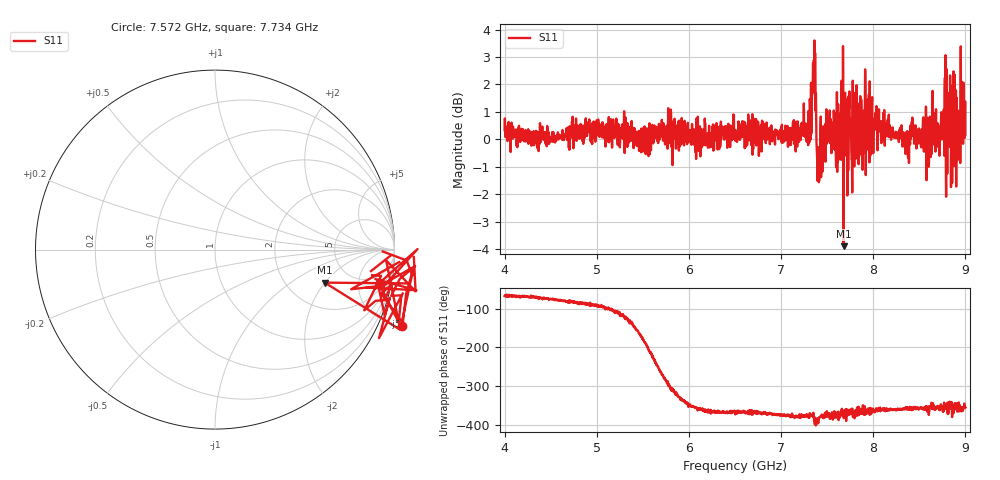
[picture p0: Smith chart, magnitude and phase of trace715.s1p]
! Created with skrf 1.8.0 (http://scikit-rf.org).
# Hz S RI R 50.0
!freq ReS11 ImS11
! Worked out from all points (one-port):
!   1601 points, 4 GHz to 9 GHz, reference 50 ohm
!   lowest |S11| = -3.9 dB at 7.678 GHz (marker M1), VSWR 4.54, Z = 160 - j99.8 ohm
!   |S11| at or under -10 dB: nowhere
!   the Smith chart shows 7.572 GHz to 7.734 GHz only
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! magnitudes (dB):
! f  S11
! 4 GHz  0.3
! 4.625 GHz  0.0
! 5.25 GHz  -0.3
! 5.875 GHz  -0.2
! 6.5 GHz  0.3
! 7.125 GHz  0.3
! 7.284 GHz  0.3
! 7.35 GHz  2.4
! 7.366 GHz  2.6
! 7.4 GHz  -0.8
! 7.412 GHz  -1.5
! 7.512 GHz  0.4
! 7.609 GHz  -1.2
! 7.647 GHz  0.4
! 7.678 GHz  -3.9
! 7.703 GHz  -0.6
! 7.75 GHz  0.6
! 7.788 GHz  0.2
! 7.928 GHz  1.2
! 8.375 GHz  -0.5
! 8.434 GHz  0.2
! 8.603 GHz  -1.0
! 8.656 GHz  0.9
! 8.709 GHz  0.5
! 8.809 GHz  0.5
! 8.919 GHz  -0.1
! 8.972 GHz  0.2
! 9 GHz  0.2
